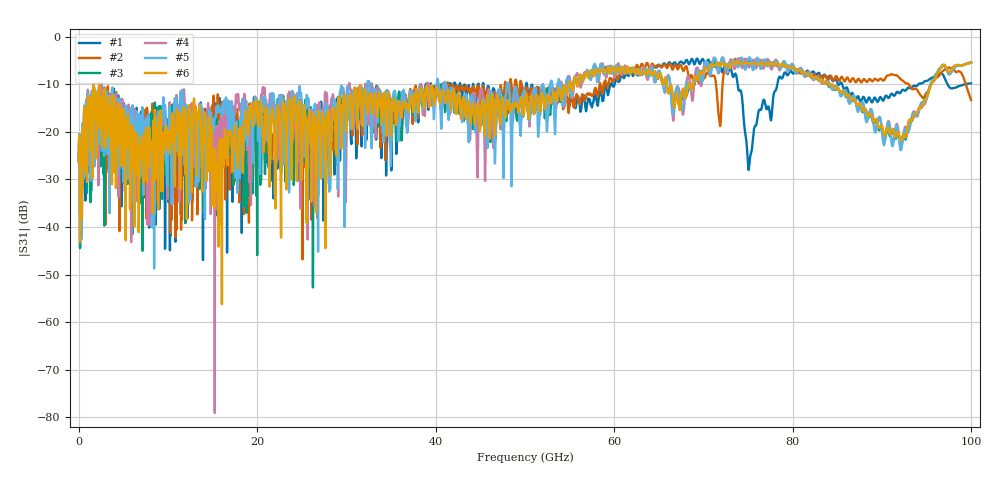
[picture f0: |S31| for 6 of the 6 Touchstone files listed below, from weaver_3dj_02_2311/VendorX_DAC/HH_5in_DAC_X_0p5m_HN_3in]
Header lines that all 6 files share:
# GHz S RI R 45
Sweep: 25 MHz to 100 GHz
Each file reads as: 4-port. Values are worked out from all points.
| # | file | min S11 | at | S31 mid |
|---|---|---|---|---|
| 1 | HH_5in_DAC_X_0p5m_HN_3in_FEXT_TP0_Tx5_to_TP5_Rx7.s4p | -46.8 dB | 13.45 GHz | -11.7 dB at 50.02 GHz |
| 2 | HH_5in_DAC_X_0p5m_HN_3in_FEXT_TP0_Tx6_to_TP5_Rx7.s4p | -47.8 dB | 10.38 GHz | -11.1 dB at 50.02 GHz |
| 3 | HH_5in_DAC_X_0p5m_HN_3in_FEXT_TP0_Tx8_to_TP5_Rx7.s4p | -48.5 dB | 27.32 GHz | -12.9 dB at 50.02 GHz |
| 4 | HH_5in_DAC_X_0p5m_HN_3in_NEXT_TP0_Tx7_to_TP5_Rx7.s4p | -45.1 dB | 98.67 GHz | -12.1 dB at 50.02 GHz |
| 5 | HH_5in_DAC_X_0p5m_HN_3in_NEXT_TP0_Tx8_to_TP5_Tx7.s4p | -46.0 dB | 26.6 GHz | -11.9 dB at 50.02 GHz |
| 6 | HH_5in_DAC_X_0p5m_HN_3in_thru_TP0_Tx7_to_TP5_Rx7.s4p | -49.0 dB | 98.67 GHz | -12.9 dB at 50.02 GHz |
